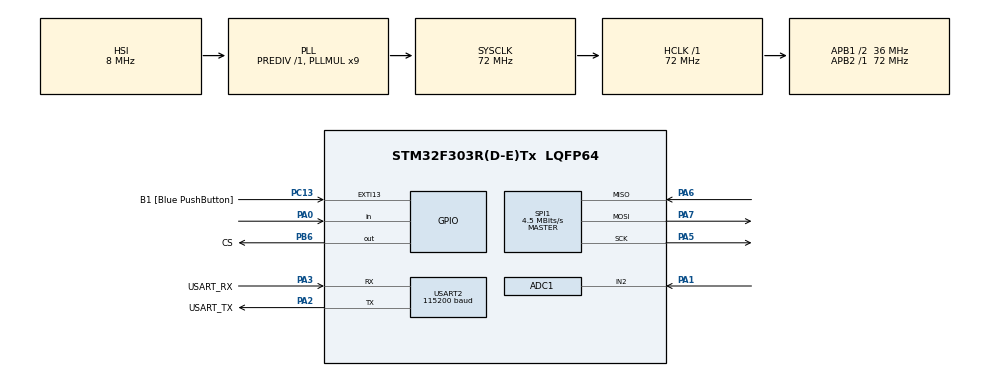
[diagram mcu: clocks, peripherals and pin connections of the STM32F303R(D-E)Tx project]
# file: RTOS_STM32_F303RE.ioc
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ADC1.Channel-0\#ChannelRegularConversion=ADC_CHANNEL_2
ADC1.ContinuousConvMode=ENABLE
ADC1.NbrOfConversionFlag=1
ADC1.Offset-0\#ChannelRegularConversion=0
ADC1.OffsetNumber-0\#ChannelRegularConversion=ADC_OFFSET_NONE
ADC1.Rank-0\#ChannelRegularConversion=1
ADC1.SamplingTime-0\#ChannelRegularConversion=ADC_SAMPLETIME_1CYCLE_5
ADC1.SamplingTimeOPAMP-0\#ChannelRegularConversion=ADC_SAMPLETIME_61CYCLES_5
ADC1.master=1
FREERTOS.Tasks01=Task1,0,128,Task1_init,Default,NULL,Dynamic,NULL,NULL
FREERTOS.configUSE_NEWLIB_REENTRANT=1
Mcu.Family=STM32F3
Mcu.Name=STM32F303R(D-E)Tx
Mcu.Package=LQFP64
NVIC.PriorityGroup=NVIC_PRIORITYGROUP_4
NVIC.TIM1_UP_TIM16_IRQn=true\:5\:0\:false\:false\:true\:true\:true\:true\:true
NVIC.TIM6_DAC_IRQn=true\:15\:0\:false\:false\:true\:false\:false\:true\:true
NVIC.TimeBase=TIM6_DAC_IRQn
NVIC.TimeBaseIP=TIM6
PA0.Signal=GPIO_Input
PA1.Mode=IN2-Single-Ended
PA1.Signal=ADC1_IN2
PA13.GPIO_Label=TMS
PA13.Signal=SYS_JTMS-SWDIO
PA14.GPIO_Label=TCK
PA14.Signal=SYS_JTCK-SWCLK
PA2.GPIO_Label=USART_TX
PA2.GPIO_Mode=GPIO_MODE_AF_PP
PA2.GPIO_PuPd=GPIO_NOPULL
PA2.GPIO_Speed=GPIO_SPEED_FREQ_LOW
PA2.Mode=Asynchronous
PA2.Signal=USART2_TX
PA3.GPIO_Label=USART_RX
PA3.GPIO_Mode=GPIO_MODE_AF_PP
PA3.GPIO_PuPd=GPIO_NOPULL
PA3.GPIO_Speed=GPIO_SPEED_FREQ_LOW
PA3.Mode=Asynchronous
PA3.Signal=USART2_RX
PA5.Mode=Full_Duplex_Master
PA5.Signal=SPI1_SCK
PA6.Mode=Full_Duplex_Master
PA6.Signal=SPI1_MISO
PA7.Mode=Full_Duplex_Master
PA7.Signal=SPI1_MOSI
PB3.GPIO_Label=SWO
PB3.Signal=SYS_JTDO-TRACESWO
PB6.GPIO_Label=CS
PB6.Signal=GPIO_Output
PC13.GPIO_Label=B1 [Blue PushButton]
PC13.GPIO_ModeDefaultEXTI=GPIO_MODE_IT_FALLING
PC13.Signal=GPXTI13
PC14-OSC32_IN.Signal=RCC_OSC32_IN
PC15-OSC32_OUT.Signal=RCC_OSC32_OUT
PF0-OSC_IN.Mode=HSE-External-Oscillator
PF0-OSC_IN.Signal=RCC_OSC_IN
PF1-OSC_OUT.Mode=HSE-External-Oscillator
PF1-OSC_OUT.Signal=RCC_OSC_OUT
ProjectManager.HeapSize=0x200
ProjectManager.StackSize=0x400
ProjectManager.TargetToolchain=STM32CubeIDE
RCC.AHBFreq_Value=72000000
RCC.APB1CLKDivider=RCC_HCLK_DIV2
RCC.APB1Freq_Value=36000000
RCC.APB1TimFreq_Value=72000000
RCC.APB2Freq_Value=72000000
RCC.APB2TimFreq_Value=72000000
RCC.CortexFreq_Value=72000000
RCC.HCLKFreq_Value=72000000
RCC.HSE_VALUE=8000000
RCC.HSI_VALUE=8000000
RCC.LSE_VALUE=32768
RCC.PLLM=8
RCC.PLLMUL=RCC_PLL_MUL9
RCC.PLLN=336
RCC.PLLP=RCC_PLLP_DIV4
RCC.PLLQ=7
RCC.RCC_PLLsource_Clock_Source_FROM_HSE=RCC_HSE_PREDIV_DIV2
RCC.SYSCLKFreq_VALUE=72000000
RCC.SYSCLKSourceVirtual=RCC_SYSCLKSOURCE_PLLCLK
RCC.USBFreq_Value=72000000
SPI1.BaudRatePrescaler=SPI_BAUDRATEPRESCALER_16
SPI1.CalculateBaudRate=4.5 MBits/s
SPI1.DataSize=SPI_DATASIZE_8BIT
SPI1.Direction=SPI_DIRECTION_2LINES
SPI1.Mode=SPI_MODE_MASTER
SPI1.VirtualType=VM_MASTER
TIM1.Period=2000-1
TIM1.Prescaler=72-1
TIM1.TIM_MasterOutputTrigger=TIM_TRGO_UPDATE
TIM7.Prescaler=72-1
USART2.BaudRate=115200
USART2.VirtualMode-Asynchronous=VM_ASYNC
VP_FATFS_VS_Generic.Mode=User_defined
VP_FREERTOS_VS_CMSIS_V1.Mode=CMSIS_V1
VP_SYS_VS_tim6.Mode=TIM6
VP_TIM1_VS_ClockSourceINT.Mode=Internal
VP_TIM7_VS_ClockSourceINT.Mode=Enable_Timer
board=NUCLEO-F303RE

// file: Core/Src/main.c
/* USER CODE BEGIN Header */
/**
  ******************************************************************************
  * @file           : main.c
  * @brief          : Main program body
  ******************************************************************************
  * @attention
  *
  * Copyright (c) 2024 STMicroelectronics.
  * All rights reserved.
  *
  * This software is licensed under terms that can be found in the LICENSE file
  * in the root directory of this software component.
  * If no LICENSE file comes with this software, it is provided AS-IS.
  *
  ******************************************************************************
  */
/* USER CODE END Header */
#include "main.h"
//#include "cmsis_os.h"
#include "fatfs.h"

/* USER CODE BEGIN Includes */

#include "FreeRTOS.h"
#include "task.h"
#include "timers.h"
#include "queue.h"
#include "semphr.h"
#include "event_groups.h"

#include "stdio.h"
#include "string.h"

#include "DHT11.h"
#include "fatfs_sd.h"
#include "File_Handling_RTOS.h"
/* USER CODE END Includes */

ADC_HandleTypeDef hadc1;

SPI_HandleTypeDef hspi1;

TIM_HandleTypeDef htim1;
TIM_HandleTypeDef htim7;

UART_HandleTypeDef huart2;

//osThreadId Task1Handle;

void SystemClock_Config(void);
static void MX_GPIO_Init(void);
static void MX_USART2_UART_Init(void);
static void MX_TIM7_Init(void);
static void MX_TIM1_Init(void);
static void MX_ADC1_Init(void);
static void MX_SPI1_Init(void);
//void Task1_init(void const * argument);

/* USER CODE BEGIN 0 */

uint16_t ADC_VAL;
int Temperature, Humidity;

//xTaskHandle ADC_Task_Handler;
xTaskHandle DHT_Task_Handler;
xTaskHandle SDCARD_Task_Handler;

xSemaphoreHandle DHT_SEM;

void ADC_Task (void *argument)
{
	while (1)
	{
		HAL_ADC_Start(&hadc1);
		HAL_ADC_PollForConversion(&hadc1, 10);
		ADC_VAL = HAL_ADC_GetValue(&hadc1);
		HAL_ADC_Stop(&hadc1);

		vTaskDelay(500);
	}
}

void DHT_Task (void *argument)
{
	while (1)
	{
		if (xSemaphoreTake(DHT_SEM, 2500) != pdTRUE)
		{
			HAL_UART_Transmit(&huart2, (uint8_t *) "Unable to acquire semaphore\n", 28, 100);
		}

		else
		{
			DHT11_Get_Data(&Temperature, &Humidity);
		}
	}
}

void SDCARD_Task (void *argument)
{
	int indx=1;
	while (1)
	{
		char *buffer = pvPortMalloc(50*sizeof(char));
		//sprintf (buffer, "%d. %u\n", indx,ADC_VAL);
		Mount_SD("/");
		//Update_File("ADC_DATA.TXT", buffer);
		sprintf (buffer, "%d. Temp = %d C\t RH = %d \n",indx, Temperature, Humidity);
		Update_File("TEMP.TXT", buffer);
		vPortFree(buffer);
		Unmount_SD("/");

		indx++;

		vTaskDelay(1000);
	}
}

/* USER CODE END 0 */

int main(void)
{

  /* MCU Configuration--------------------------------------------------------*/

  /* Reset of all peripherals, Initializes the Flash interface and the Systick. */
  HAL_Init();

  /* Configure the system clock */
  SystemClock_Config();

  /* Initialize all configured peripherals */
  MX_GPIO_Init();
  MX_USART2_UART_Init();
  MX_TIM7_Init();
  MX_TIM1_Init();
  MX_ADC1_Init();
  MX_SPI1_Init();
  MX_FATFS_Init();
  /* USER CODE BEGIN 2 */

  Mount_SD("/");
  Format_SD();
  Create_File("ADC_DATA.TXT");
  Create_File("TEMP.TXT");
  Unmount_SD("/");

  DHT_SEM = xSemaphoreCreateBinary();

  xTaskCreate(DHT_Task, "DHT", 128, NULL, 1, &DHT_Task_Handler);
  //xTaskCreate(ADC_Task, "ADC", 128, NULL, 1, &ADC_Task_Handler);
  xTaskCreate(SDCARD_Task, "SD", 128, NULL, 3, &SDCARD_Task_Handler);

  HAL_TIM_Base_Start(&htim7);		// us delay timer
  HAL_TIM_Base_Start_IT(&htim1);	// periodic delay timer

  vTaskStartScheduler();

  /* USER CODE END 2 */
  /////////////////////////////////////////////////////////////

  /* Create the thread(s) */
  /* definition and creation of Task1 */
  //osThreadDef(Task1, Task1_init, osPriorityNormal, 0, 128);
  //Task1Handle = osThreadCreate(osThread(Task1), NULL);

  /* Start scheduler */
  //osKernelStart();
  ///////////////////////////////////////////////////////////////////////////////
  /* We should never get here as control is now taken by the scheduler */
  /* Infinite loop */
  while (1)
  {

  }
}

void SystemClock_Config(void)
{
  RCC_OscInitTypeDef RCC_OscInitStruct = {0};
  RCC_ClkInitTypeDef RCC_ClkInitStruct = {0};
  RCC_PeriphCLKInitTypeDef PeriphClkInit = {0};

  /** Initializes the RCC Oscillators according to the specified parameters
  * in the RCC_OscInitTypeDef structure.
  */
  RCC_OscInitStruct.OscillatorType = RCC_OSCILLATORTYPE_HSI;
  RCC_OscInitStruct.HSIState = RCC_HSI_ON;
  RCC_OscInitStruct.HSICalibrationValue = RCC_HSICALIBRATION_DEFAULT;
  RCC_OscInitStruct.PLL.PLLState = RCC_PLL_ON;
  RCC_OscInitStruct.PLL.PLLSource = RCC_PLLSOURCE_HSI;
  RCC_OscInitStruct.PLL.PLLMUL = RCC_PLL_MUL9;
  RCC_OscInitStruct.PLL.PREDIV = RCC_PREDIV_DIV1;
  if (HAL_RCC_OscConfig(&RCC_OscInitStruct) != HAL_OK)
  {
    Error_Handler();
  }

  /** Initializes the CPU, AHB and APB buses clocks
  */
  RCC_ClkInitStruct.ClockType = RCC_CLOCKTYPE_HCLK|RCC_CLOCKTYPE_SYSCLK
                              |RCC_CLOCKTYPE_PCLK1|RCC_CLOCKTYPE_PCLK2;
  RCC_ClkInitStruct.SYSCLKSource = RCC_SYSCLKSOURCE_PLLCLK;
  RCC_ClkInitStruct.AHBCLKDivider = RCC_SYSCLK_DIV1;
  RCC_ClkInitStruct.APB1CLKDivider = RCC_HCLK_DIV2;
  RCC_ClkInitStruct.APB2CLKDivider = RCC_HCLK_DIV1;

  if (HAL_RCC_ClockConfig(&RCC_ClkInitStruct, FLASH_LATENCY_2) != HAL_OK)
  {
    Error_Handler();
  }
  PeriphClkInit.PeriphClockSelection = RCC_PERIPHCLK_USART2|RCC_PERIPHCLK_TIM1
                              |RCC_PERIPHCLK_ADC12;
  PeriphClkInit.Usart2ClockSelection = RCC_USART2CLKSOURCE_PCLK1;
  PeriphClkInit.Adc12ClockSelection = RCC_ADC12PLLCLK_DIV1;
  PeriphClkInit.Tim1ClockSelection = RCC_TIM1CLK_HCLK;
  if (HAL_RCCEx_PeriphCLKConfig(&PeriphClkInit) != HAL_OK)
  {
    Error_Handler();
  }
}

static void MX_ADC1_Init(void)
{

  ADC_MultiModeTypeDef multimode = {0};
  ADC_ChannelConfTypeDef sConfig = {0};

  /** Common config
  */
  hadc1.Instance = ADC1;
  hadc1.Init.ClockPrescaler = ADC_CLOCK_ASYNC_DIV1;
  hadc1.Init.Resolution = ADC_RESOLUTION_12B;
  hadc1.Init.ScanConvMode = ADC_SCAN_DISABLE;
  hadc1.Init.ContinuousConvMode = ENABLE;
  hadc1.Init.DiscontinuousConvMode = DISABLE;
  hadc1.Init.ExternalTrigConvEdge = ADC_EXTERNALTRIGCONVEDGE_NONE;
  hadc1.Init.ExternalTrigConv = ADC_SOFTWARE_START;
  hadc1.Init.DataAlign = ADC_DATAALIGN_RIGHT;
  hadc1.Init.NbrOfConversion = 1;
  hadc1.Init.DMAContinuousRequests = DISABLE;
  hadc1.Init.EOCSelection = ADC_EOC_SINGLE_CONV;
  hadc1.Init.LowPowerAutoWait = DISABLE;
  hadc1.Init.Overrun = ADC_OVR_DATA_OVERWRITTEN;
  if (HAL_ADC_Init(&hadc1) != HAL_OK)
  {
    Error_Handler();
  }

  /** Configure the ADC multi-mode
  */
  multimode.Mode = ADC_MODE_INDEPENDENT;
  if (HAL_ADCEx_MultiModeConfigChannel(&hadc1, &multimode) != HAL_OK)
  {
    Error_Handler();
  }

  /** Configure Regular Channel
  */
  sConfig.Channel = ADC_CHANNEL_2;
  sConfig.Rank = ADC_REGULAR_RANK_1;
  sConfig.SingleDiff = ADC_SINGLE_ENDED;
  sConfig.SamplingTime = ADC_SAMPLETIME_1CYCLE_5;
  sConfig.OffsetNumber = ADC_OFFSET_NONE;
  sConfig.Offset = 0;
  if (HAL_ADC_ConfigChannel(&hadc1, &sConfig) != HAL_OK)
  {
    Error_Handler();
  }

}

static void MX_SPI1_Init(void)
{

  /* SPI1 parameter configuration*/
  hspi1.Instance = SPI1;
  hspi1.Init.Mode = SPI_MODE_MASTER;
  hspi1.Init.Direction = SPI_DIRECTION_2LINES;
  hspi1.Init.DataSize = SPI_DATASIZE_8BIT;
  hspi1.Init.CLKPolarity = SPI_POLARITY_LOW;
  hspi1.Init.CLKPhase = SPI_PHASE_1EDGE;
  hspi1.Init.NSS = SPI_NSS_SOFT;
  hspi1.Init.BaudRatePrescaler = SPI_BAUDRATEPRESCALER_16;
  hspi1.Init.FirstBit = SPI_FIRSTBIT_MSB;
  hspi1.Init.TIMode = SPI_TIMODE_DISABLE;
  hspi1.Init.CRCCalculation = SPI_CRCCALCULATION_DISABLE;
  hspi1.Init.CRCPolynomial = 7;
  hspi1.Init.CRCLength = SPI_CRC_LENGTH_DATASIZE;
  hspi1.Init.NSSPMode = SPI_NSS_PULSE_ENABLE;
  if (HAL_SPI_Init(&hspi1) != HAL_OK)
  {
    Error_Handler();
  }

}

static void MX_TIM1_Init(void)
{

  TIM_ClockConfigTypeDef sClockSourceConfig = {0};
  TIM_MasterConfigTypeDef sMasterConfig = {0};

  htim1.Instance = TIM1;
  htim1.Init.Prescaler = 72-1;
  htim1.Init.CounterMode = TIM_COUNTERMODE_UP;
  htim1.Init.Period = 2000-1;
  htim1.Init.ClockDivision = TIM_CLOCKDIVISION_DIV1;
  htim1.Init.RepetitionCounter = 0;
  htim1.Init.AutoReloadPreload = TIM_AUTORELOAD_PRELOAD_DISABLE;
  if (HAL_TIM_Base_Init(&htim1) != HAL_OK)
  {
    Error_Handler();
  }
  sClockSourceConfig.ClockSource = TIM_CLOCKSOURCE_INTERNAL;
  if (HAL_TIM_ConfigClockSource(&htim1, &sClockSourceConfig) != HAL_OK)
  {
    Error_Handler();
  }
  sMasterConfig.MasterOutputTrigger = TIM_TRGO_UPDATE;
  sMasterConfig.MasterOutputTrigger2 = TIM_TRGO2_RESET;
  sMasterConfig.MasterSlaveMode = TIM_MASTERSLAVEMODE_DISABLE;
  if (HAL_TIMEx_MasterConfigSynchronization(&htim1, &sMasterConfig) != HAL_OK)
  {
    Error_Handler();
  }

}

static void MX_TIM7_Init(void)
{

  TIM_MasterConfigTypeDef sMasterConfig = {0};

  htim7.Instance = TIM7;
  htim7.Init.Prescaler = 72-1;
  htim7.Init.CounterMode = TIM_COUNTERMODE_UP;
  htim7.Init.Period = 65535;
  htim7.Init.AutoReloadPreload = TIM_AUTORELOAD_PRELOAD_DISABLE;
  if (HAL_TIM_Base_Init(&htim7) != HAL_OK)
  {
    Error_Handler();
  }
  sMasterConfig.MasterOutputTrigger = TIM_TRGO_RESET;
  sMasterConfig.MasterSlaveMode = TIM_MASTERSLAVEMODE_DISABLE;
  if (HAL_TIMEx_MasterConfigSynchronization(&htim7, &sMasterConfig) != HAL_OK)
  {
    Error_Handler();
  }

}

static void MX_USART2_UART_Init(void)
{

  huart2.Instance = USART2;
  huart2.Init.BaudRate = 115200;
  huart2.Init.WordLength = UART_WORDLENGTH_8B;
  huart2.Init.StopBits = UART_STOPBITS_1;
  huart2.Init.Parity = UART_PARITY_NONE;
  huart2.Init.Mode = UART_MODE_TX_RX;
  huart2.Init.HwFlowCtl = UART_HWCONTROL_NONE;
  huart2.Init.OverSampling = UART_OVERSAMPLING_16;
  huart2.Init.OneBitSampling = UART_ONE_BIT_SAMPLE_DISABLE;
  huart2.AdvancedInit.AdvFeatureInit = UART_ADVFEATURE_NO_INIT;
  if (HAL_UART_Init(&huart2) != HAL_OK)
  {
    Error_Handler();
  }

}

static void MX_GPIO_Init(void)
{
  GPIO_InitTypeDef GPIO_InitStruct = {0};

  /* GPIO Ports Clock Enable */
  __HAL_RCC_GPIOC_CLK_ENABLE();
  __HAL_RCC_GPIOF_CLK_ENABLE();
  __HAL_RCC_GPIOA_CLK_ENABLE();
  __HAL_RCC_GPIOB_CLK_ENABLE();

  /*Configure GPIO pin Output Level */
  HAL_GPIO_WritePin(CS_GPIO_Port, CS_Pin, GPIO_PIN_RESET);

  /*Configure GPIO pin : B1_Pin */
  GPIO_InitStruct.Pin = B1_Pin;
  GPIO_InitStruct.Mode = GPIO_MODE_IT_FALLING;
  GPIO_InitStruct.Pull = GPIO_NOPULL;
  HAL_GPIO_Init(B1_GPIO_Port, &GPIO_InitStruct);

  /*Configure GPIO pin : PA0 */
  GPIO_InitStruct.Pin = GPIO_PIN_0;
  GPIO_InitStruct.Mode = GPIO_MODE_INPUT;
  GPIO_InitStruct.Pull = GPIO_NOPULL;
  HAL_GPIO_Init(GPIOA, &GPIO_InitStruct);

  /*Configure GPIO pin : CS_Pin */
  GPIO_InitStruct.Pin = CS_Pin;
  GPIO_InitStruct.Mode = GPIO_MODE_OUTPUT_PP;
  GPIO_InitStruct.Pull = GPIO_NOPULL;
  GPIO_InitStruct.Speed = GPIO_SPEED_FREQ_LOW;
  HAL_GPIO_Init(CS_GPIO_Port, &GPIO_InitStruct);

}

void HAL_TIM_PeriodElapsedCallback(TIM_HandleTypeDef *htim)
{
  /* USER CODE BEGIN Callback 0 */
	if (htim->Instance == TIM1)
		{
			// release the semaphore here
			 /* The xHigherPriorityTaskWoken parameter must be initialized to pdFALSE as
			 it will get set to pdTRUE inside the interrupt safe API function if a
			 context switch is required. */
			BaseType_t xHigherPriorityTaskWoken = pdFALSE;

			xSemaphoreGiveFromISR(DHT_SEM, &xHigherPriorityTaskWoken);  // ISR SAFE VERSION

			/* Pass the xHigherPriorityTaskWoken value into portEND_SWITCHING_ISR(). If
			 xHigherPriorityTaskWoken was set to pdTRUE inside xSemaphoreGiveFromISR()
			 then calling portEND_SWITCHING_ISR() will request a context switch. If
			 xHigherPriorityTaskWoken is still pdFALSE then calling
			 portEND_SWITCHING_ISR() will have no effect */

			portEND_SWITCHING_ISR( xHigherPriorityTaskWoken );
		}

  /* USER CODE END Callback 0 */
  if (htim->Instance == TIM6) {
    HAL_IncTick();
  }
}

void Error_Handler(void)
{
  __disable_irq();
  while (1)
  {
  }
}
